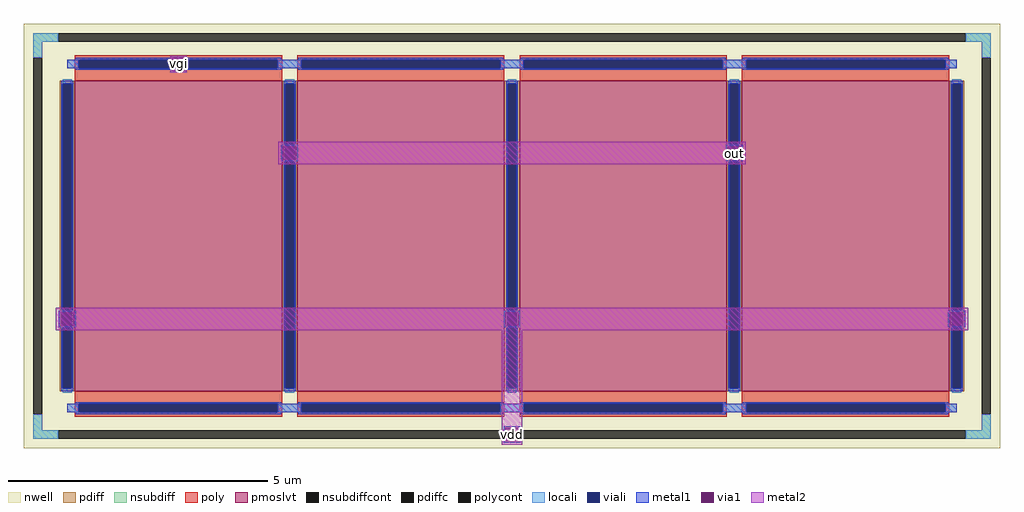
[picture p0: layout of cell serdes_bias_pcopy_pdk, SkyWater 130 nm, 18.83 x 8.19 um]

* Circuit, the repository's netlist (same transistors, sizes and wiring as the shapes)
* NGSPICE file created from serdes_bias_pcopy_pdk.ext - technology: sky130A

.subckt serdes_bias_pcopy_pdk out vgi vdd
X0 out vgi vdd vdd sky130_fd_pr__pfet_01v8_lvt ad=0.87 pd=6.29 as=0.87 ps=6.29 w=6 l=4
X1 vdd vgi out vdd sky130_fd_pr__pfet_01v8_lvt ad=1.74 pd=12.58 as=0.87 ps=6.29 w=6 l=4
X2 out vgi vdd vdd sky130_fd_pr__pfet_01v8_lvt ad=0.87 pd=6.29 as=1.74 ps=12.58 w=6 l=4
X3 vdd vgi out vdd sky130_fd_pr__pfet_01v8_lvt ad=0.87 pd=6.29 as=0.87 ps=6.29 w=6 l=4
.ends

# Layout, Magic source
magic
tech sky130A
magscale 1 2
<< nwell >>
rect -1883 -819 1883 819
<< pmoslvt >>
rect -1687 -600 -887 600
rect -829 -600 -29 600
rect 29 -600 829 600
rect 887 -600 1687 600
<< pdiff >>
rect -1745 588 -1687 600
rect -1745 -588 -1733 588
rect -1699 -588 -1687 588
rect -1745 -600 -1687 -588
rect -887 588 -829 600
rect -887 -588 -875 588
rect -841 -588 -829 588
rect -887 -600 -829 -588
rect -29 588 29 600
rect -29 -588 -17 588
rect 17 -588 29 588
rect -29 -600 29 -588
rect 829 588 887 600
rect 829 -588 841 588
rect 875 -588 887 588
rect 829 -600 887 -588
rect 1687 588 1745 600
rect 1687 -588 1699 588
rect 1733 -588 1745 588
rect 1687 -600 1745 -588
<< pdiffc >>
rect -1733 -588 -1699 588
rect -875 -588 -841 588
rect -17 -588 17 588
rect 841 -588 875 588
rect 1699 -588 1733 588
<< nsubdiff >>
rect -1847 749 -1751 783
rect 1751 749 1847 783
rect -1847 687 -1813 749
rect 1813 687 1847 749
rect -1847 -749 -1813 -687
rect 1813 -749 1847 -687
rect -1847 -783 -1751 -749
rect 1751 -783 1847 -749
<< nsubdiffcont >>
rect -1751 749 1751 783
rect -1847 -687 -1813 687
rect 1813 -687 1847 687
rect -1751 -783 1751 -749
<< poly >>
rect -1687 681 -887 697
rect -1687 647 -1671 681
rect -903 647 -887 681
rect -1687 600 -887 647
rect -829 681 -29 697
rect -829 647 -813 681
rect -45 647 -29 681
rect -829 600 -29 647
rect 29 681 829 697
rect 29 647 45 681
rect 813 647 829 681
rect 29 600 829 647
rect 887 681 1687 697
rect 887 647 903 681
rect 1671 647 1687 681
rect 887 600 1687 647
rect -1687 -647 -887 -600
rect -1687 -681 -1671 -647
rect -903 -681 -887 -647
rect -1687 -697 -887 -681
rect -829 -647 -29 -600
rect -829 -681 -813 -647
rect -45 -681 -29 -647
rect -829 -697 -29 -681
rect 29 -647 829 -600
rect 29 -681 45 -647
rect 813 -681 829 -647
rect 29 -697 829 -681
rect 887 -647 1687 -600
rect 887 -681 903 -647
rect 1671 -681 1687 -647
rect 887 -697 1687 -681
<< polycont >>
rect -1671 647 -903 681
rect -813 647 -45 681
rect 45 647 813 681
rect 903 647 1671 681
rect -1671 -681 -903 -647
rect -813 -681 -45 -647
rect 45 -681 813 -647
rect 903 -681 1671 -647
<< locali >>
rect -1847 749 -1751 783
rect 1751 749 1847 783
rect -1847 687 -1813 749
rect 1813 687 1847 749
rect -1716 647 -1671 681
rect -903 647 -813 681
rect -45 647 45 681
rect 813 647 903 681
rect 1671 647 1716 681
rect -1733 588 -1699 604
rect -1733 -604 -1699 -588
rect -875 588 -841 604
rect -875 -604 -841 -588
rect -17 588 17 604
rect -17 -604 17 -588
rect 841 588 875 604
rect 841 -604 875 -588
rect 1699 588 1733 604
rect 1699 -604 1733 -588
rect -1716 -681 -1671 -647
rect -903 -681 -813 -647
rect -45 -681 45 -647
rect 813 -681 903 -647
rect 1671 -681 1716 -647
rect -1847 -749 -1813 -687
rect 1813 -749 1847 -687
rect -1847 -783 -1751 -749
rect 1751 -783 1847 -749
<< viali >>
rect -1671 647 -903 681
rect -813 647 -45 681
rect 45 647 813 681
rect 903 647 1671 681
rect -1733 -588 -1699 588
rect -875 -588 -841 588
rect -17 -588 17 588
rect 841 -588 875 588
rect 1699 -588 1733 588
rect -1671 -681 -903 -647
rect -813 -681 -45 -647
rect 45 -681 813 -647
rect 903 -681 1671 -647
rect -17 -783 17 -749
<< metal1 >>
rect -1683 681 -891 687
rect -825 681 -33 687
rect 33 681 825 687
rect 891 681 1683 687
rect -1716 647 -1671 681
rect -903 647 -813 681
rect -45 647 45 681
rect 813 647 903 681
rect 1671 647 1716 681
rect -1683 641 -891 647
rect -825 641 -33 647
rect 33 641 825 647
rect 891 641 1683 647
rect -1739 588 -1693 600
rect -1739 -588 -1733 588
rect -1699 -588 -1693 588
rect -1739 -600 -1693 -588
rect -881 588 -835 600
rect -881 -588 -875 588
rect -841 -588 -835 588
rect -881 -600 -835 -588
rect -23 588 23 600
rect -23 -588 -17 588
rect 17 -588 23 588
rect -23 -600 23 -588
rect 835 588 881 600
rect 835 -588 841 588
rect 875 -588 881 588
rect 835 -600 881 -588
rect 1693 588 1739 600
rect 1693 -588 1699 588
rect 1733 -588 1739 588
rect 1693 -600 1739 -588
rect -1683 -647 -891 -641
rect -825 -647 -33 -641
rect 33 -647 825 -641
rect 891 -647 1683 -641
rect -1716 -681 -1671 -647
rect -903 -681 -813 -647
rect -45 -681 45 -647
rect 813 -681 903 -647
rect 1671 -681 1716 -647
rect -1683 -687 -891 -681
rect -825 -687 -33 -681
rect 33 -687 825 -681
rect 891 -687 1683 -681
rect -890 288 -826 352
rect 826 288 890 352
rect -1748 -352 -1684 -288
rect -32 -352 32 -288
rect 1684 -352 1748 -288
rect -32 -798 32 -734
rect -32 -798 32 -734
rect -1319 632 -1255 696
<< via1 >>
rect -884 294 -832 346
rect 832 294 884 346
rect -1742 -346 -1690 -294
rect -26 -346 26 -294
rect 1690 -346 1742 -294
rect -26 -792 26 -740
rect -1313 638 -1261 690
<< metal2 >>
rect -890 288 -826 352
rect -890 288 -826 352
rect 826 288 890 352
rect 826 288 890 352
rect -1748 -352 -1684 -288
rect -1748 -352 -1684 -288
rect -32 -352 32 -288
rect -32 -352 32 -288
rect 1684 -352 1748 -288
rect 1684 -352 1748 -288
rect -902 276 902 364
rect -1760 -364 1760 -276
rect -32 -798 32 -734
rect -40 -806 40 -280
rect -1760 -364 1760 -276
rect -1319 632 -1255 696
<< labels >>
rlabel metal2 858 320 858 320 0 out
port 1 nsew
rlabel metal2 -1287 664 -1287 664 0 vgi
port 2 nsew
rlabel metal2 0 -766 0 -766 0 vdd
port 3 nsew
<< end >>
